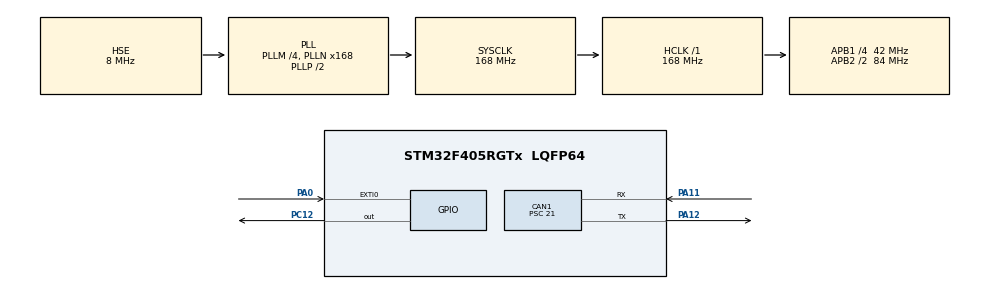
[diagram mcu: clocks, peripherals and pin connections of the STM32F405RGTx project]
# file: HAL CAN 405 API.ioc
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CAN1.BS1=CAN_BS1_12TQ
CAN1.BS2=CAN_BS2_4TQ
CAN1.CalculateTimeQuantum=500.0
CAN1.Prescaler=21
Mcu.Family=STM32F4
Mcu.Name=STM32F405RGTx
Mcu.Package=LQFP64
NVIC.CAN1_RX0_IRQn=true\:2\:0\:true\:false\:true\:true\:true
NVIC.EXTI0_IRQn=true\:1\:0\:true\:false\:true\:true\:true
NVIC.PriorityGroup=NVIC_PRIORITYGROUP_4
PA0-WKUP.Signal=GPXTI0
PA11.Mode=Master
PA11.Signal=CAN1_RX
PA12.Mode=Master
PA12.Signal=CAN1_TX
PC12.Signal=GPIO_Output
PH0-OSC_IN.Mode=HSE-External-Oscillator
PH0-OSC_IN.Signal=RCC_OSC_IN
PH1-OSC_OUT.Mode=HSE-External-Oscillator
PH1-OSC_OUT.Signal=RCC_OSC_OUT
ProjectManager.HeapSize=0x200
ProjectManager.StackSize=0x400
ProjectManager.TargetToolchain=TrueSTUDIO
RCC.48MHZClocksFreq_Value=84000000
RCC.AHBFreq_Value=168000000
RCC.APB1CLKDivider=RCC_HCLK_DIV4
RCC.APB1Freq_Value=42000000
RCC.APB1TimFreq_Value=84000000
RCC.APB2CLKDivider=RCC_HCLK_DIV2
RCC.APB2Freq_Value=84000000
RCC.APB2TimFreq_Value=168000000
RCC.CortexFreq_Value=168000000
RCC.HCLKFreq_Value=168000000
RCC.HSE_VALUE=8000000
RCC.HSI_VALUE=16000000
RCC.LSE_VALUE=32768
RCC.PLLM=4
RCC.PLLN=168
RCC.PLLSourceVirtual=RCC_PLLSOURCE_HSE
RCC.SYSCLKFreq_VALUE=168000000
RCC.SYSCLKSource=RCC_SYSCLKSOURCE_PLLCLK
RCC.VCOOutputFreq_Value=336000000
board=custom

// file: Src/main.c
/* USER CODE BEGIN Header */
/**
  ******************************************************************************
  * @file           : main.c
  * @brief          : Main program body
  ******************************************************************************
  * @attention
  *
  * <h2><center>&copy; Copyright (c) 2019 STMicroelectronics.
  * All rights reserved.</center></h2>
  *
  * This software component is licensed by ST under BSD 3-Clause license,
  * the "License"; You may not use this file except in compliance with the
  * License. You may obtain a copy of the License at:
  *                        opensource.org/licenses/BSD-3-Clause
  *
  ******************************************************************************
  */
/* USER CODE END Header */

#include "main.h"

CAN_HandleTypeDef hcan1;

/* USER CODE BEGIN PV */
CAN_HandleTypeDef hcan1;
CAN_TxHeaderTypeDef pHeader;
CAN_RxHeaderTypeDef pRxHeader;
uint32_t TxMailbox;
uint8_t a, r, m;
uint32_t abcd = 0;
CAN_FilterTypeDef sFilterConfig;

//ros::NodeHandle nh;
/* USER CODE END PV */

void SystemClock_Config(void);
static void MX_GPIO_Init(void);
static void MX_CAN1_Init(void);
/* USER CODE BEGIN PFP */
//void chatterCallback(const std_msgs::Int8& msg) {
//
//}
/* USER CODE END PFP */

int main(void)
{
  /* USER CODE BEGIN 1 */

//	ros::Subscriber<std_msgs::Int8> sub("robot_movement", &chatterCallback);
//	ros::NodeHandle nh;

  /* USER CODE END 1 */

  /* MCU Configuration--------------------------------------------------------*/

  /* Reset of all peripherals, Initializes the Flash interface and the Systick. */
  HAL_Init();

  /* Configure the system clock */
  SystemClock_Config();

  /* Initialize all configured peripherals */
  MX_GPIO_Init();
  MX_CAN1_Init();
  /* USER CODE BEGIN 2 */
  pHeader.DLC = 1;
  pHeader.IDE = CAN_ID_STD;
  pHeader.RTR = CAN_RTR_DATA;
  pHeader.StdId = 0x244;

  sFilterConfig.FilterFIFOAssignment = CAN_FILTER_FIFO0;
  sFilterConfig.FilterIdHigh = 0x245<<5;
  sFilterConfig.FilterIdLow = 0;
  sFilterConfig.FilterMaskIdHigh = 0;
  sFilterConfig.FilterMaskIdLow = 0;
  sFilterConfig.FilterScale = CAN_FILTERSCALE_16BIT;
  sFilterConfig.FilterMode = CAN_FILTERMODE_IDLIST;
  sFilterConfig.FilterActivation = ENABLE;
  HAL_CAN_ConfigFilter(&hcan1, &sFilterConfig);

  HAL_CAN_Start(&hcan1);
  HAL_CAN_ActivateNotification(&hcan1, CAN_IT_RX_FIFO0_MSG_PENDING);
  /* USER CODE END 2 */

  /* Infinite loop */
  while (1)
  {

    /* USER CODE BEGIN 3 */
	HAL_CAN_AddTxMessage(&hcan1, &pHeader, &a, &TxMailbox);
	HAL_Delay(2000);
	//a++;
	HAL_GPIO_TogglePin(GPIOC, GPIO_PIN_12);
  }
  /* USER CODE END 3 */
}

void SystemClock_Config(void)
{
  RCC_OscInitTypeDef RCC_OscInitStruct = {0};
  RCC_ClkInitTypeDef RCC_ClkInitStruct = {0};

  /** Configure the main internal regulator output voltage
  */
  __HAL_RCC_PWR_CLK_ENABLE();
  __HAL_PWR_VOLTAGESCALING_CONFIG(PWR_REGULATOR_VOLTAGE_SCALE1);
  /** Initializes the CPU, AHB and APB busses clocks
  */
  RCC_OscInitStruct.OscillatorType = RCC_OSCILLATORTYPE_HSE;
  RCC_OscInitStruct.HSEState = RCC_HSE_ON;
  RCC_OscInitStruct.PLL.PLLState = RCC_PLL_ON;
  RCC_OscInitStruct.PLL.PLLSource = RCC_PLLSOURCE_HSE;
  RCC_OscInitStruct.PLL.PLLM = 4;
  RCC_OscInitStruct.PLL.PLLN = 168;
  RCC_OscInitStruct.PLL.PLLP = RCC_PLLP_DIV2;
  RCC_OscInitStruct.PLL.PLLQ = 4;
  if (HAL_RCC_OscConfig(&RCC_OscInitStruct) != HAL_OK)
  {
    Error_Handler();
  }
  /** Initializes the CPU, AHB and APB busses clocks
  */
  RCC_ClkInitStruct.ClockType = RCC_CLOCKTYPE_HCLK|RCC_CLOCKTYPE_SYSCLK
                              |RCC_CLOCKTYPE_PCLK1|RCC_CLOCKTYPE_PCLK2;
  RCC_ClkInitStruct.SYSCLKSource = RCC_SYSCLKSOURCE_PLLCLK;
  RCC_ClkInitStruct.AHBCLKDivider = RCC_SYSCLK_DIV1;
  RCC_ClkInitStruct.APB1CLKDivider = RCC_HCLK_DIV4;
  RCC_ClkInitStruct.APB2CLKDivider = RCC_HCLK_DIV2;

  if (HAL_RCC_ClockConfig(&RCC_ClkInitStruct, FLASH_LATENCY_5) != HAL_OK)
  {
    Error_Handler();
  }
}

static void MX_CAN1_Init(void)
{

  hcan1.Instance = CAN1;
  hcan1.Init.Prescaler = 21;
  hcan1.Init.Mode = CAN_MODE_NORMAL;
  hcan1.Init.SyncJumpWidth = CAN_SJW_1TQ;
  hcan1.Init.TimeSeg1 = CAN_BS1_12TQ;
  hcan1.Init.TimeSeg2 = CAN_BS2_4TQ;
  hcan1.Init.TimeTriggeredMode = DISABLE;
  hcan1.Init.AutoBusOff = DISABLE;
  hcan1.Init.AutoWakeUp = DISABLE;
  hcan1.Init.AutoRetransmission = DISABLE;
  hcan1.Init.ReceiveFifoLocked = DISABLE;
  hcan1.Init.TransmitFifoPriority = DISABLE;
  if (HAL_CAN_Init(&hcan1) != HAL_OK)
  {
    Error_Handler();
  }

}

static void MX_GPIO_Init(void)
{
  GPIO_InitTypeDef GPIO_InitStruct = {0};

  /* GPIO Ports Clock Enable */
  __HAL_RCC_GPIOH_CLK_ENABLE();
  __HAL_RCC_GPIOA_CLK_ENABLE();
  __HAL_RCC_GPIOC_CLK_ENABLE();

  /*Configure GPIO pin Output Level */
  HAL_GPIO_WritePin(GPIOC, GPIO_PIN_12, GPIO_PIN_RESET);

  /*Configure GPIO pin : PA0 */
  GPIO_InitStruct.Pin = GPIO_PIN_0;
  GPIO_InitStruct.Mode = GPIO_MODE_IT_RISING;
  GPIO_InitStruct.Pull = GPIO_NOPULL;
  HAL_GPIO_Init(GPIOA, &GPIO_InitStruct);

  /*Configure GPIO pin : PC12 */
  GPIO_InitStruct.Pin = GPIO_PIN_12;
  GPIO_InitStruct.Mode = GPIO_MODE_OUTPUT_PP;
  GPIO_InitStruct.Pull = GPIO_NOPULL;
  GPIO_InitStruct.Speed = GPIO_SPEED_FREQ_LOW;
  HAL_GPIO_Init(GPIOC, &GPIO_InitStruct);

  /* EXTI interrupt init*/
  HAL_NVIC_SetPriority(EXTI0_IRQn, 1, 0);
  HAL_NVIC_EnableIRQ(EXTI0_IRQn);

}

void Error_Handler(void)
{
}

/************************ (C) COPYRIGHT STMicroelectronics *****END OF FILE****/
